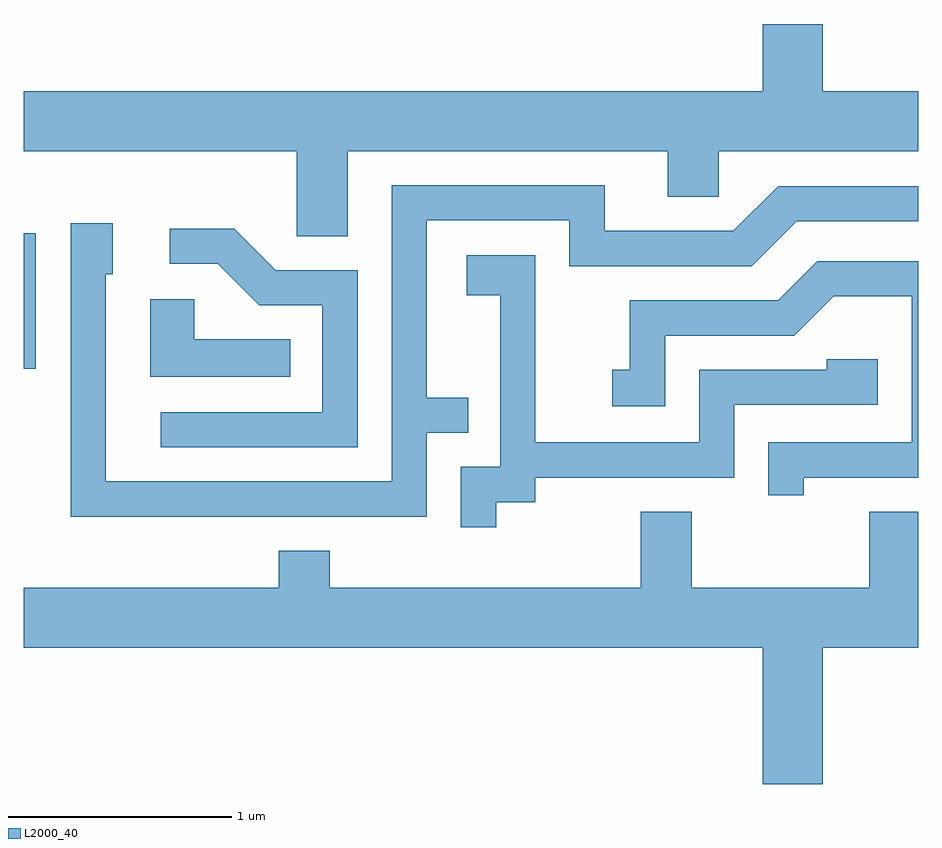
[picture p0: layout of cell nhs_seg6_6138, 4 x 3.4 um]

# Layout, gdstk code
import gdstk
lib = gdstk.Library(unit=1e-6, precision=1e-09)
def R(c, l, rs):  # rectangles x0, y0, x1, y1
    for r in rs: c.add(gdstk.rectangle(r[:2], r[2:], *l))
def P(c, l, *ps):  # polygons
    for p in ps: c.add(gdstk.Polygon(p, *l))
L2000_40 = (2000, 40)

nhs_seg6_6138 = lib.new_cell('nhs_seg6_6138')
R(nhs_seg6_6138, L2000_40, [(371.611,1582.363,371.664,1582.969)])
P(nhs_seg6_6138, L2000_40, [(373.059,1583.336),(374.491,1583.336),(374.491,1583.131),(374.719,1583.131),(374.719,1583.336),(375.611,1583.336),(375.611,1583.604),(375.184,1583.604),(375.184,1583.904),(374.916,1583.904),(374.916,1583.604),(371.611,1583.604),(371.611,1583.336),(372.831,1583.336),(372.831,1582.956),(373.059,1582.956)],
  [(373.414,1582.076),(373.598,1582.076),(373.598,1582.234),(373.414,1582.234),(373.414,1583.026),(374.051,1583.026),(374.051,1582.821),(374.867,1582.821),(375.067,1583.021),(375.611,1583.021),(375.611,1583.179),(374.984,1583.179),(374.784,1582.979),(374.209,1582.979),(374.209,1583.184),(373.256,1583.184),(373.256,1581.859),(371.979,1581.859),(371.979,1582.786),(372.009,1582.786),(372.009,1583.014),(371.821,1583.014),(371.821,1581.701),(373.414,1581.701)],
  [(373.104,1582.804),(372.737,1582.804),(372.552,1582.989),(372.263,1582.989),(372.263,1582.831),(372.479,1582.831),(372.664,1582.646),(372.946,1582.646),(372.946,1582.169),(372.223,1582.169),(372.223,1582.011),(373.104,1582.011)],
  [(373.724,1581.766),(373.899,1581.766),(373.899,1581.876),(374.789,1581.876),(374.789,1582.201),(375.429,1582.201),(375.429,1582.404),(375.201,1582.404),(375.201,1582.359),(374.631,1582.359),(374.631,1582.034),(373.899,1582.034),(373.899,1582.869),(373.591,1582.869),(373.591,1582.691),(373.741,1582.691),(373.741,1581.924),(373.566,1581.924),(373.566,1581.653),(373.724,1581.653)],
  [(375.099,1581.876),(375.611,1581.876),(375.611,1582.844),(375.159,1582.844),(374.984,1582.669),(374.321,1582.669),(374.321,1582.359),(374.243,1582.359),(374.243,1582.196),(374.479,1582.196),(374.479,1582.511),(375.057,1582.511),(375.232,1582.686),(375.581,1582.686),(375.581,1582.034),(374.941,1582.034),(374.941,1581.798),(375.099,1581.798)],
  [(372.803,1582.494),(372.374,1582.494),(372.374,1582.674),(372.176,1582.674),(372.176,1582.326),(372.803,1582.326)],
  [(375.184,1581.116),(375.611,1581.116),(375.611,1581.724),(375.391,1581.724),(375.391,1581.384),(374.599,1581.384),(374.599,1581.724),(374.371,1581.724),(374.371,1581.384),(372.979,1581.384),(372.979,1581.549),(372.751,1581.549),(372.751,1581.384),(371.611,1581.384),(371.611,1581.116),(374.916,1581.116),(374.916,1580.506),(375.184,1580.506)])

lib.write_gds('nhs_seg6_6138.gds')
